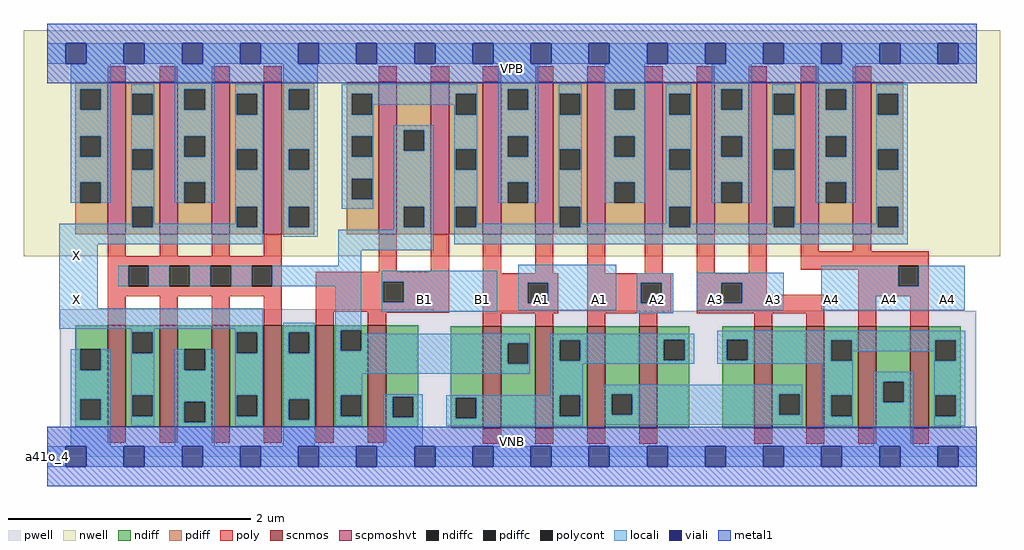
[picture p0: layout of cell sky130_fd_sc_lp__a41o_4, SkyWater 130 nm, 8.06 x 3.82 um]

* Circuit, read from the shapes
.subckt sky130_fd_sc_lp__a41o_4 A1 A2 A3 A4 B1 VGND VNB VPB VPWR X
XM1 X n1 VGND VNB sky130_fd_pr__nfet_01v8 w=0.84 l=0.15 m=4
XM2 n1 B1 VGND VNB sky130_fd_pr__nfet_01v8 w=0.84 l=0.15 m=2
XM3 n1 A1 n2 VNB sky130_fd_pr__nfet_01v8 w=0.84 l=0.15 m=2
XM4 n3 A2 n2 VNB sky130_fd_pr__nfet_01v8 w=0.84 l=0.15 m=2
XM5 n3 A3 n4 VNB sky130_fd_pr__nfet_01v8 w=0.84 l=0.15 m=2
XM6 VGND A4 n4 VNB sky130_fd_pr__nfet_01v8 w=0.84 l=0.15 m=2
XM7 X n1 VPWR VPB sky130_fd_pr__pfet_01v8_hvt w=1.26 l=0.15 m=4
XM8 n1 B1 n5 VPB sky130_fd_pr__pfet_01v8_hvt w=1.26 l=0.15 m=2
XM9 VPWR A1 n5 VPB sky130_fd_pr__pfet_01v8_hvt w=1.26 l=0.15 m=2
XM10 VPWR A2 n5 VPB sky130_fd_pr__pfet_01v8_hvt w=1.26 l=0.15 m=2
XM11 VPWR A3 n5 VPB sky130_fd_pr__pfet_01v8_hvt w=1.26 l=0.15 m=2
XM12 VPWR A4 n5 VPB sky130_fd_pr__pfet_01v8_hvt w=1.26 l=0.15 m=2
.ends

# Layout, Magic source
magic
tech sky130A
magscale 1 2
<< nwell >>
rect -38 331 1574 704
<< pwell >>
rect 21 241 639 243
rect 21 49 1535 241
rect 0 0 1536 49
<< scnmos >>
rect 100 49 130 217
rect 186 49 216 217
rect 272 49 302 217
rect 358 49 388 217
rect 444 49 474 217
rect 530 49 560 217
rect 720 47 750 215
rect 806 47 836 215
rect 892 47 922 215
rect 978 47 1008 215
rect 1168 47 1198 215
rect 1254 47 1284 215
rect 1340 47 1370 215
rect 1426 47 1456 215
<< scpmoshvt >>
rect 100 367 130 619
rect 186 367 216 619
rect 272 367 302 619
rect 358 367 388 619
rect 548 367 578 619
rect 634 367 664 619
rect 720 367 750 619
rect 806 367 836 619
rect 892 367 922 619
rect 987 367 1017 619
rect 1073 367 1103 619
rect 1159 367 1189 619
rect 1245 367 1275 619
rect 1331 367 1361 619
<< ndiff >>
rect 47 177 100 217
rect 47 143 55 177
rect 89 143 100 177
rect 47 95 100 143
rect 47 61 55 95
rect 89 61 100 95
rect 47 49 100 61
rect 130 205 186 217
rect 130 171 141 205
rect 175 171 186 205
rect 130 101 186 171
rect 130 67 141 101
rect 175 67 186 101
rect 130 49 186 67
rect 216 177 272 217
rect 216 143 227 177
rect 261 143 272 177
rect 216 91 272 143
rect 216 57 227 91
rect 261 57 272 91
rect 216 49 272 57
rect 302 205 358 217
rect 302 171 313 205
rect 347 171 358 205
rect 302 101 358 171
rect 302 67 313 101
rect 347 67 358 101
rect 302 49 358 67
rect 388 205 444 217
rect 388 171 399 205
rect 433 171 444 205
rect 388 95 444 171
rect 388 61 399 95
rect 433 61 444 95
rect 388 49 444 61
rect 474 209 530 217
rect 474 175 485 209
rect 519 175 530 209
rect 474 101 530 175
rect 474 67 485 101
rect 519 67 530 101
rect 474 49 530 67
rect 560 99 613 217
rect 560 65 571 99
rect 605 65 613 99
rect 560 49 613 65
rect 667 97 720 215
rect 667 63 675 97
rect 709 63 720 97
rect 667 47 720 63
rect 750 187 806 215
rect 750 153 761 187
rect 795 153 806 187
rect 750 47 806 153
rect 836 192 892 215
rect 836 158 847 192
rect 881 158 892 192
rect 836 101 892 158
rect 836 67 847 101
rect 881 67 892 101
rect 836 47 892 67
rect 922 103 978 215
rect 922 69 933 103
rect 967 69 978 103
rect 922 47 978 69
rect 1008 193 1061 215
rect 1008 159 1019 193
rect 1053 159 1061 193
rect 1008 47 1061 159
rect 1115 193 1168 215
rect 1115 159 1123 193
rect 1157 159 1168 193
rect 1115 47 1168 159
rect 1198 103 1254 215
rect 1198 69 1209 103
rect 1243 69 1254 103
rect 1198 47 1254 69
rect 1284 192 1340 215
rect 1284 158 1295 192
rect 1329 158 1340 192
rect 1284 101 1340 158
rect 1284 67 1295 101
rect 1329 67 1340 101
rect 1284 47 1340 67
rect 1370 124 1426 215
rect 1370 90 1381 124
rect 1415 90 1426 124
rect 1370 47 1426 90
rect 1456 192 1509 215
rect 1456 158 1467 192
rect 1501 158 1509 192
rect 1456 101 1509 158
rect 1456 67 1467 101
rect 1501 67 1509 101
rect 1456 47 1509 67
<< pdiff >>
rect 47 607 100 619
rect 47 573 55 607
rect 89 573 100 607
rect 47 529 100 573
rect 47 495 55 529
rect 89 495 100 529
rect 47 453 100 495
rect 47 419 55 453
rect 89 419 100 453
rect 47 367 100 419
rect 130 599 186 619
rect 130 565 141 599
rect 175 565 186 599
rect 130 508 186 565
rect 130 474 141 508
rect 175 474 186 508
rect 130 413 186 474
rect 130 379 141 413
rect 175 379 186 413
rect 130 367 186 379
rect 216 607 272 619
rect 216 573 227 607
rect 261 573 272 607
rect 216 529 272 573
rect 216 495 227 529
rect 261 495 272 529
rect 216 453 272 495
rect 216 419 227 453
rect 261 419 272 453
rect 216 367 272 419
rect 302 599 358 619
rect 302 565 313 599
rect 347 565 358 599
rect 302 508 358 565
rect 302 474 313 508
rect 347 474 358 508
rect 302 413 358 474
rect 302 379 313 413
rect 347 379 358 413
rect 302 367 358 379
rect 388 607 441 619
rect 388 573 399 607
rect 433 573 441 607
rect 388 508 441 573
rect 388 474 399 508
rect 433 474 441 508
rect 388 413 441 474
rect 388 379 399 413
rect 433 379 441 413
rect 388 367 441 379
rect 495 599 548 619
rect 495 565 503 599
rect 537 565 548 599
rect 495 529 548 565
rect 495 495 503 529
rect 537 495 548 529
rect 495 459 548 495
rect 495 425 503 459
rect 537 425 548 459
rect 495 367 548 425
rect 578 539 634 619
rect 578 505 589 539
rect 623 505 634 539
rect 578 413 634 505
rect 578 379 589 413
rect 623 379 634 413
rect 578 367 634 379
rect 664 599 720 619
rect 664 565 675 599
rect 709 565 720 599
rect 664 508 720 565
rect 664 474 675 508
rect 709 474 720 508
rect 664 413 720 474
rect 664 379 675 413
rect 709 379 720 413
rect 664 367 720 379
rect 750 607 806 619
rect 750 573 761 607
rect 795 573 806 607
rect 750 529 806 573
rect 750 495 761 529
rect 795 495 806 529
rect 750 453 806 495
rect 750 419 761 453
rect 795 419 806 453
rect 750 367 806 419
rect 836 599 892 619
rect 836 565 847 599
rect 881 565 892 599
rect 836 508 892 565
rect 836 474 847 508
rect 881 474 892 508
rect 836 413 892 474
rect 836 379 847 413
rect 881 379 892 413
rect 836 367 892 379
rect 922 607 987 619
rect 922 573 937 607
rect 971 573 987 607
rect 922 529 987 573
rect 922 495 937 529
rect 971 495 987 529
rect 922 453 987 495
rect 922 419 937 453
rect 971 419 987 453
rect 922 367 987 419
rect 1017 599 1073 619
rect 1017 565 1028 599
rect 1062 565 1073 599
rect 1017 508 1073 565
rect 1017 474 1028 508
rect 1062 474 1073 508
rect 1017 413 1073 474
rect 1017 379 1028 413
rect 1062 379 1073 413
rect 1017 367 1073 379
rect 1103 607 1159 619
rect 1103 573 1114 607
rect 1148 573 1159 607
rect 1103 529 1159 573
rect 1103 495 1114 529
rect 1148 495 1159 529
rect 1103 453 1159 495
rect 1103 419 1114 453
rect 1148 419 1159 453
rect 1103 367 1159 419
rect 1189 599 1245 619
rect 1189 565 1200 599
rect 1234 565 1245 599
rect 1189 508 1245 565
rect 1189 474 1200 508
rect 1234 474 1245 508
rect 1189 413 1245 474
rect 1189 379 1200 413
rect 1234 379 1245 413
rect 1189 367 1245 379
rect 1275 607 1331 619
rect 1275 573 1286 607
rect 1320 573 1331 607
rect 1275 529 1331 573
rect 1275 495 1286 529
rect 1320 495 1331 529
rect 1275 453 1331 495
rect 1275 419 1286 453
rect 1320 419 1331 453
rect 1275 367 1331 419
rect 1361 599 1414 619
rect 1361 565 1372 599
rect 1406 565 1414 599
rect 1361 508 1414 565
rect 1361 474 1372 508
rect 1406 474 1414 508
rect 1361 413 1414 474
rect 1361 379 1372 413
rect 1406 379 1414 413
rect 1361 367 1414 379
<< ndiffc >>
rect 55 143 89 177
rect 55 61 89 95
rect 141 171 175 205
rect 141 67 175 101
rect 227 143 261 177
rect 227 57 261 91
rect 313 171 347 205
rect 313 67 347 101
rect 399 171 433 205
rect 399 61 433 95
rect 485 175 519 209
rect 485 67 519 101
rect 571 65 605 99
rect 675 63 709 97
rect 761 153 795 187
rect 847 158 881 192
rect 847 67 881 101
rect 933 69 967 103
rect 1019 159 1053 193
rect 1123 159 1157 193
rect 1209 69 1243 103
rect 1295 158 1329 192
rect 1295 67 1329 101
rect 1381 90 1415 124
rect 1467 158 1501 192
rect 1467 67 1501 101
<< pdiffc >>
rect 55 573 89 607
rect 55 495 89 529
rect 55 419 89 453
rect 141 565 175 599
rect 141 474 175 508
rect 141 379 175 413
rect 227 573 261 607
rect 227 495 261 529
rect 227 419 261 453
rect 313 565 347 599
rect 313 474 347 508
rect 313 379 347 413
rect 399 573 433 607
rect 399 474 433 508
rect 399 379 433 413
rect 503 565 537 599
rect 503 495 537 529
rect 503 425 537 459
rect 589 505 623 539
rect 589 379 623 413
rect 675 565 709 599
rect 675 474 709 508
rect 675 379 709 413
rect 761 573 795 607
rect 761 495 795 529
rect 761 419 795 453
rect 847 565 881 599
rect 847 474 881 508
rect 847 379 881 413
rect 937 573 971 607
rect 937 495 971 529
rect 937 419 971 453
rect 1028 565 1062 599
rect 1028 474 1062 508
rect 1028 379 1062 413
rect 1114 573 1148 607
rect 1114 495 1148 529
rect 1114 419 1148 453
rect 1200 565 1234 599
rect 1200 474 1234 508
rect 1200 379 1234 413
rect 1286 573 1320 607
rect 1286 495 1320 529
rect 1286 419 1320 453
rect 1372 565 1406 599
rect 1372 474 1406 508
rect 1372 379 1406 413
<< poly >>
rect 100 619 130 645
rect 186 619 216 645
rect 272 619 302 645
rect 358 619 388 645
rect 548 619 578 645
rect 634 619 664 645
rect 720 619 750 645
rect 806 619 836 645
rect 892 619 922 645
rect 987 619 1017 645
rect 1073 619 1103 645
rect 1159 619 1189 645
rect 1245 619 1275 645
rect 1331 619 1361 645
rect 100 331 130 367
rect 186 331 216 367
rect 272 331 302 367
rect 358 331 388 367
rect 100 315 388 331
rect 100 281 134 315
rect 168 281 202 315
rect 236 281 270 315
rect 304 281 338 315
rect 372 281 388 315
rect 548 305 578 367
rect 634 305 664 367
rect 100 265 388 281
rect 100 217 130 265
rect 186 217 216 265
rect 272 217 302 265
rect 358 217 388 265
rect 444 289 664 305
rect 444 255 555 289
rect 589 255 664 289
rect 444 239 664 255
rect 444 217 474 239
rect 530 238 664 239
rect 720 303 750 367
rect 806 303 836 367
rect 892 303 922 367
rect 987 303 1017 367
rect 1073 303 1103 367
rect 1159 303 1189 367
rect 1245 339 1275 367
rect 1331 339 1361 367
rect 1245 315 1456 339
rect 1245 309 1406 315
rect 720 287 844 303
rect 720 253 794 287
rect 828 253 844 287
rect 530 217 560 238
rect 720 237 844 253
rect 892 287 1031 303
rect 892 253 981 287
rect 1015 253 1031 287
rect 892 237 1031 253
rect 1073 287 1189 303
rect 1073 253 1114 287
rect 1148 267 1189 287
rect 1340 281 1406 309
rect 1440 281 1456 315
rect 1148 253 1284 267
rect 1073 237 1284 253
rect 720 215 750 237
rect 806 215 836 237
rect 892 215 922 237
rect 978 215 1008 237
rect 1168 215 1198 237
rect 1254 215 1284 237
rect 1340 265 1456 281
rect 1340 215 1370 265
rect 1426 215 1456 265
rect 100 23 130 49
rect 186 23 216 49
rect 272 23 302 49
rect 358 23 388 49
rect 444 23 474 49
rect 530 23 560 49
rect 720 21 750 47
rect 806 21 836 47
rect 892 21 922 47
rect 978 21 1008 47
rect 1168 21 1198 47
rect 1254 21 1284 47
rect 1340 21 1370 47
rect 1426 21 1456 47
<< polycont >>
rect 134 281 168 315
rect 202 281 236 315
rect 270 281 304 315
rect 338 281 372 315
rect 555 255 589 289
rect 794 253 828 287
rect 981 253 1015 287
rect 1114 253 1148 287
rect 1406 281 1440 315
<< locali >>
rect 0 649 31 683
rect 65 649 127 683
rect 161 649 223 683
rect 257 649 319 683
rect 353 649 415 683
rect 449 649 511 683
rect 545 649 607 683
rect 641 649 703 683
rect 737 649 799 683
rect 833 649 895 683
rect 929 649 991 683
rect 1025 649 1087 683
rect 1121 649 1183 683
rect 1217 649 1279 683
rect 1313 649 1375 683
rect 1409 649 1471 683
rect 1505 649 1536 683
rect 39 607 105 649
rect 39 573 55 607
rect 89 573 105 607
rect 39 529 105 573
rect 39 495 55 529
rect 89 495 105 529
rect 39 453 105 495
rect 39 419 55 453
rect 89 419 105 453
rect 139 599 177 615
rect 139 565 141 599
rect 175 565 177 599
rect 139 508 177 565
rect 139 474 141 508
rect 175 474 177 508
rect 139 413 177 474
rect 211 607 277 649
rect 211 573 227 607
rect 261 573 277 607
rect 211 529 277 573
rect 211 495 227 529
rect 261 495 277 529
rect 211 453 277 495
rect 211 419 227 453
rect 261 419 277 453
rect 311 599 356 615
rect 311 565 313 599
rect 347 565 356 599
rect 311 508 356 565
rect 311 474 313 508
rect 347 474 356 508
rect 139 385 141 413
rect 20 379 141 385
rect 175 385 177 413
rect 311 413 356 474
rect 311 385 313 413
rect 175 379 313 385
rect 347 379 356 413
rect 20 351 356 379
rect 390 607 447 649
rect 390 573 399 607
rect 433 573 447 607
rect 390 508 447 573
rect 390 474 399 508
rect 433 474 447 508
rect 390 413 447 474
rect 390 379 399 413
rect 433 379 447 413
rect 487 599 711 615
rect 487 565 503 599
rect 537 581 675 599
rect 537 565 539 581
rect 487 529 539 565
rect 673 565 675 581
rect 709 565 711 599
rect 487 495 503 529
rect 537 495 539 529
rect 487 459 539 495
rect 487 425 503 459
rect 537 425 539 459
rect 487 409 539 425
rect 573 539 639 547
rect 573 505 589 539
rect 623 505 639 539
rect 573 413 639 505
rect 390 363 447 379
rect 573 379 589 413
rect 623 379 639 413
rect 573 375 639 379
rect 20 245 84 351
rect 481 341 639 375
rect 673 508 711 565
rect 673 474 675 508
rect 709 474 711 508
rect 673 413 711 474
rect 745 607 811 649
rect 745 573 761 607
rect 795 573 811 607
rect 745 529 811 573
rect 745 495 761 529
rect 795 495 811 529
rect 745 453 811 495
rect 745 419 761 453
rect 795 419 811 453
rect 845 599 883 615
rect 845 565 847 599
rect 881 565 883 599
rect 845 508 883 565
rect 845 474 847 508
rect 881 474 883 508
rect 673 379 675 413
rect 709 385 711 413
rect 845 413 883 474
rect 921 607 987 649
rect 921 573 937 607
rect 971 573 987 607
rect 921 529 987 573
rect 921 495 937 529
rect 971 495 987 529
rect 921 453 987 495
rect 921 419 937 453
rect 971 419 987 453
rect 1022 599 1064 615
rect 1022 565 1028 599
rect 1062 565 1064 599
rect 1022 508 1064 565
rect 1022 474 1028 508
rect 1062 474 1064 508
rect 845 385 847 413
rect 709 379 847 385
rect 881 385 883 413
rect 1022 413 1064 474
rect 1098 607 1164 649
rect 1098 573 1114 607
rect 1148 573 1164 607
rect 1098 529 1164 573
rect 1098 495 1114 529
rect 1148 495 1164 529
rect 1098 453 1164 495
rect 1098 419 1114 453
rect 1148 419 1164 453
rect 1198 599 1236 615
rect 1198 565 1200 599
rect 1234 565 1236 599
rect 1198 508 1236 565
rect 1198 474 1200 508
rect 1234 474 1236 508
rect 1022 385 1028 413
rect 881 379 1028 385
rect 1062 385 1064 413
rect 1198 413 1236 474
rect 1270 607 1336 649
rect 1270 573 1286 607
rect 1320 573 1336 607
rect 1270 529 1336 573
rect 1270 495 1286 529
rect 1320 495 1336 529
rect 1270 453 1336 495
rect 1270 419 1286 453
rect 1320 419 1336 453
rect 1370 599 1422 615
rect 1370 565 1372 599
rect 1406 565 1422 599
rect 1370 508 1422 565
rect 1370 474 1372 508
rect 1406 474 1422 508
rect 1198 385 1200 413
rect 1062 379 1200 385
rect 1234 385 1236 413
rect 1370 413 1422 474
rect 1370 385 1372 413
rect 1234 379 1372 385
rect 1406 379 1422 413
rect 673 351 1422 379
rect 481 315 519 341
rect 118 281 134 315
rect 168 281 202 315
rect 236 281 270 315
rect 304 281 338 315
rect 372 281 519 315
rect 20 211 356 245
rect 139 205 177 211
rect 39 143 55 177
rect 89 143 105 177
rect 39 95 105 143
rect 39 61 55 95
rect 89 61 105 95
rect 39 17 105 61
rect 139 171 141 205
rect 175 171 177 205
rect 311 205 356 211
rect 139 101 177 171
rect 139 67 141 101
rect 175 67 177 101
rect 139 51 177 67
rect 211 143 227 177
rect 261 143 277 177
rect 211 91 277 143
rect 211 57 227 91
rect 261 57 277 91
rect 211 17 277 57
rect 311 171 313 205
rect 347 171 356 205
rect 311 101 356 171
rect 311 67 313 101
rect 347 67 356 101
rect 311 51 356 67
rect 390 205 442 221
rect 390 171 399 205
rect 433 171 442 205
rect 390 95 442 171
rect 390 61 399 95
rect 433 61 442 95
rect 390 17 442 61
rect 476 209 519 281
rect 553 289 744 307
rect 553 255 555 289
rect 589 255 744 289
rect 553 239 744 255
rect 778 287 940 317
rect 778 253 794 287
rect 828 253 940 287
rect 778 242 940 253
rect 974 287 1034 303
rect 974 253 981 287
rect 1015 253 1034 287
rect 974 237 1034 253
rect 1073 287 1217 304
rect 1073 253 1114 287
rect 1148 253 1217 287
rect 1073 242 1217 253
rect 1279 281 1406 315
rect 1440 281 1516 315
rect 1279 242 1516 281
rect 476 175 485 209
rect 519 187 797 203
rect 519 175 761 187
rect 476 153 761 175
rect 795 153 797 187
rect 476 137 797 153
rect 831 193 1069 203
rect 831 192 1019 193
rect 831 158 847 192
rect 881 159 1019 192
rect 1053 159 1069 193
rect 881 158 1069 159
rect 831 153 1069 158
rect 1107 193 1517 208
rect 1107 159 1123 193
rect 1157 192 1517 193
rect 1157 159 1295 192
rect 1107 158 1295 159
rect 1329 174 1467 192
rect 1329 158 1331 174
rect 1107 153 1331 158
rect 476 101 521 137
rect 476 67 485 101
rect 519 67 521 101
rect 476 51 521 67
rect 555 99 621 103
rect 831 101 885 153
rect 555 65 571 99
rect 605 65 621 99
rect 555 17 621 65
rect 659 97 847 101
rect 659 63 675 97
rect 709 67 847 97
rect 881 67 885 101
rect 709 63 885 67
rect 659 51 885 63
rect 919 103 1247 119
rect 919 69 933 103
rect 967 69 1209 103
rect 1243 69 1247 103
rect 919 53 1247 69
rect 1281 101 1331 153
rect 1465 158 1467 174
rect 1501 158 1517 192
rect 1281 67 1295 101
rect 1329 67 1331 101
rect 1281 51 1331 67
rect 1365 124 1431 140
rect 1365 90 1381 124
rect 1415 90 1431 124
rect 1365 17 1431 90
rect 1465 101 1517 158
rect 1465 67 1467 101
rect 1501 67 1517 101
rect 1465 51 1517 67
rect 0 -17 31 17
rect 65 -17 127 17
rect 161 -17 223 17
rect 257 -17 319 17
rect 353 -17 415 17
rect 449 -17 511 17
rect 545 -17 607 17
rect 641 -17 703 17
rect 737 -17 799 17
rect 833 -17 895 17
rect 929 -17 991 17
rect 1025 -17 1087 17
rect 1121 -17 1183 17
rect 1217 -17 1279 17
rect 1313 -17 1375 17
rect 1409 -17 1471 17
rect 1505 -17 1536 17
<< viali >>
rect 31 649 65 683
rect 127 649 161 683
rect 223 649 257 683
rect 319 649 353 683
rect 415 649 449 683
rect 511 649 545 683
rect 607 649 641 683
rect 703 649 737 683
rect 799 649 833 683
rect 895 649 929 683
rect 991 649 1025 683
rect 1087 649 1121 683
rect 1183 649 1217 683
rect 1279 649 1313 683
rect 1375 649 1409 683
rect 1471 649 1505 683
rect 31 -17 65 17
rect 127 -17 161 17
rect 223 -17 257 17
rect 319 -17 353 17
rect 415 -17 449 17
rect 511 -17 545 17
rect 607 -17 641 17
rect 703 -17 737 17
rect 799 -17 833 17
rect 895 -17 929 17
rect 991 -17 1025 17
rect 1087 -17 1121 17
rect 1183 -17 1217 17
rect 1279 -17 1313 17
rect 1375 -17 1409 17
rect 1471 -17 1505 17
<< metal1 >>
rect 0 683 1536 715
rect 0 649 31 683
rect 65 649 127 683
rect 161 649 223 683
rect 257 649 319 683
rect 353 649 415 683
rect 449 649 511 683
rect 545 649 607 683
rect 641 649 703 683
rect 737 649 799 683
rect 833 649 895 683
rect 929 649 991 683
rect 1025 649 1087 683
rect 1121 649 1183 683
rect 1217 649 1279 683
rect 1313 649 1375 683
rect 1409 649 1471 683
rect 1505 649 1536 683
rect 0 617 1536 649
rect 0 17 1536 49
rect 0 -17 31 17
rect 65 -17 127 17
rect 161 -17 223 17
rect 257 -17 319 17
rect 353 -17 415 17
rect 449 -17 511 17
rect 545 -17 607 17
rect 641 -17 703 17
rect 737 -17 799 17
rect 833 -17 895 17
rect 929 -17 991 17
rect 1025 -17 1087 17
rect 1121 -17 1183 17
rect 1217 -17 1279 17
rect 1313 -17 1375 17
rect 1409 -17 1471 17
rect 1505 -17 1536 17
rect 0 -49 1536 -17
<< labels >>
flabel pwell s 0 0 1536 49 0 FreeSans 200 0 0 0 VNB
port 7 nsew ground bidirectional
flabel nwell s 0 617 1536 666 0 FreeSans 200 0 0 0 VPB
port 8 nsew power bidirectional
rlabel comment s 0 0 0 0 4 a41o_4
flabel metal1 s 0 617 1536 666 0 FreeSans 340 0 0 0 VPWR
port 9 nsew power bidirectional
flabel metal1 s 0 0 1536 49 0 FreeSans 340 0 0 0 VGND
port 6 nsew ground bidirectional
flabel locali s 799 242 833 276 0 FreeSans 340 0 0 0 A1
port 1 nsew signal input
flabel locali s 895 242 929 276 0 FreeSans 340 0 0 0 A1
port 1 nsew signal input
flabel locali s 991 242 1025 276 0 FreeSans 340 0 0 0 A2
port 2 nsew signal input
flabel locali s 1087 242 1121 276 0 FreeSans 340 0 0 0 A3
port 3 nsew signal input
flabel locali s 1183 242 1217 276 0 FreeSans 340 0 0 0 A3
port 3 nsew signal input
flabel locali s 1279 242 1313 276 0 FreeSans 340 0 0 0 A4
port 4 nsew signal input
flabel locali s 1375 242 1409 276 0 FreeSans 340 0 0 0 A4
port 4 nsew signal input
flabel locali s 1471 242 1505 276 0 FreeSans 340 0 0 0 A4
port 4 nsew signal input
flabel locali s 607 242 641 276 0 FreeSans 340 0 0 0 B1
port 5 nsew signal input
flabel locali s 703 242 737 276 0 FreeSans 340 0 0 0 B1
port 5 nsew signal input
flabel locali s 31 242 65 276 0 FreeSans 340 0 0 0 X
port 10 nsew signal output
flabel locali s 31 316 65 350 0 FreeSans 340 0 0 0 X
port 10 nsew signal output
<< properties >>
string LEFsite unit
string LEFclass CORE
string FIXED_BBOX 0 0 1536 666
string GDS_FILE $PDKPATH/libs.ref/sky130_fd_sc_lp/gds/sky130_fd_sc_lp.gds
string LEFsymmetry X Y R90
string GDS_END 5499798
string GDS_START 5486578
<< end >>
